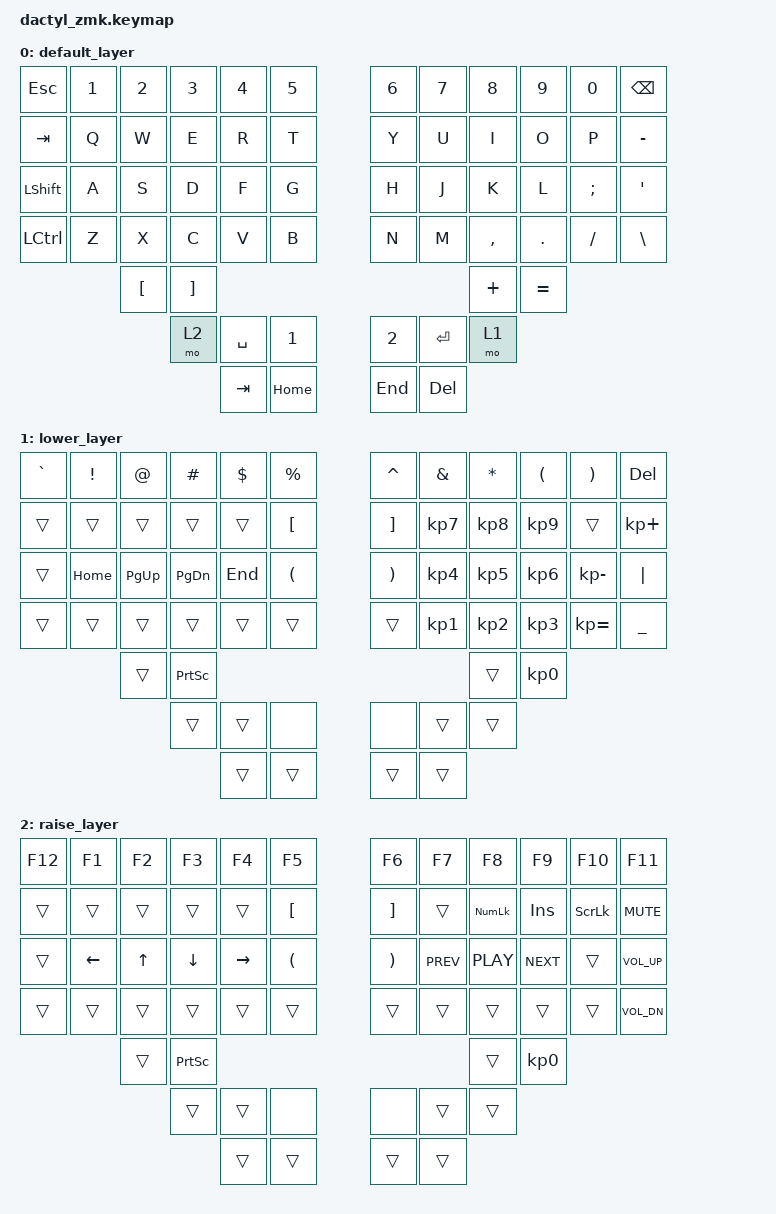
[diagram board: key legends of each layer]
#include <behaviors.dtsi>
#include <dt-bindings/zmk/keys.h>
#include <dt-bindings/zmk/bt.h>
#include <dt-bindings/zmk/mouse.h>
#include <dt-bindings/zmk/ext_power.h>

/ {
    keymap {
        compatible = "zmk,keymap";

        default_layer {
            bindings = <
    &kp ESC     &kp N1     &kp N2     &kp N3     &kp N4     &kp N5       &kp N6     &kp N7     &kp N8     &kp N9     &kp N0     &kp BSPC
    &kp TAB     &kp Q      &kp W      &kp E      &kp R      &kp T         &kp Y      &kp U      &kp I      &kp O      &kp P      &kp MINUS
    &kp LSHFT   &kp A      &kp S      &kp D      &kp F      &kp G         &kp H      &kp J      &kp K      &kp L      &kp SEMI   &kp SQT
    &kp LCTRL   &kp Z      &kp X      &kp C      &kp V      &kp B         &kp N      &kp M      &kp COMMA  &kp DOT    &kp FSLH   &kp BSLH
                      &kp LBKT   &kp RBKT                                     &kp PLUS   &kp EQUAL
                      &mo 2     &kp SPACE  &kp N1                            &kp N2     &kp RET    &mo 1
                      &kp TAB    &kp HOME                                     &kp END    &kp DEL
            >;
        };

        lower_layer {
            bindings = <
    &kp GRAVE  &kp EXCL   &kp AT     &kp HASH   &kp DLLR   &kp PRCNT     &kp CARET  &kp AMPS   &kp ASTRK  &kp LPAR   &kp RPAR   &kp DEL
    &trans      &trans     &trans     &trans     &trans     &kp LBKT      &kp RBKT   &kp KP_N7  &kp KP_N8  &kp KP_N9  &trans     &kp KP_PLUS
    &trans      &kp HOME   &kp PG_UP  &kp PG_DN  &kp END    &kp LPAR      &kp RPAR   &kp KP_N4  &kp KP_N5  &kp KP_N6  &kp KP_MINUS &kp PIPE
    &trans      &trans     &trans     &trans     &trans     &trans        &trans     &kp KP_N1  &kp KP_N2  &kp KP_N3  &kp KP_EQUAL &kp UNDER
                      &trans     &kp PSCRN                                    &trans     &kp KP_N0
                      &trans     &trans     &none                             &none      &trans     &trans
                      &trans     &trans                                       &trans     &trans
            >;
        };

        raise_layer {
            bindings = <
    &kp F12    &kp F1     &kp F2     &kp F3     &kp F4     &kp F5        &kp F6     &kp F7     &kp F8     &kp F9     &kp F10    &kp F11
    &trans      &trans     &trans     &trans     &trans     &kp LBKT      &kp RBKT   &trans     &kp KP_NUM &kp INS    &kp SLCK   &kp C_MUTE
    &trans      &kp LEFT   &kp UP     &kp DOWN   &kp RIGHT  &kp LPAR      &kp RPAR   &kp C_PREV &kp C_PLAY &kp C_NEXT &trans     &kp C_VOL_UP
    &trans      &trans     &trans     &trans     &trans     &trans        &trans     &trans     &trans     &trans     &trans     &kp C_VOL_DN
                      &trans     &kp PSCRN                                    &trans     &kp KP_N0
                      &trans     &trans     &none                             &none      &trans     &trans
                      &trans     &trans                                       &trans     &trans
            >;
        };
    };
};
